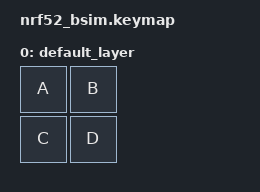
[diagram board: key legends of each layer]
/*
 * Copyright (c) 2026 amgskobo
 * SPDX-License-Identifier: MIT
 *
 * One steady stroke from a pointing device on the peripheral, across a split
 * link that shares the air with a busy WLAN (channel 6, half its capacity).
 * Lost packets are retried at later connection events, so frames reach the
 * central late and in bursts. The stroke never stops, so inertia must never
 * glide before its end: every report up to 7.0 s is the stroke's own.
 */

#include <behaviors.dtsi>
#include <dt-bindings/zmk/keys.h>

#include "shared.dtsi"

&kscan {
    /delete-property/ exit-after;
    events = <>;
};

&split_listener {
    status = "okay";
};

/ {
    keymap {
        compatible = "zmk,keymap";

        default_layer {
            bindings = <
            &kp A &kp B
            &kp C &kp D>;
        };
    };
};
